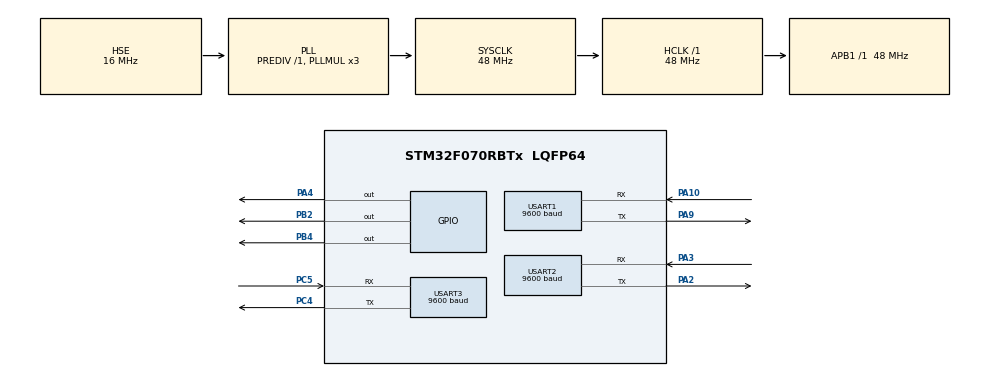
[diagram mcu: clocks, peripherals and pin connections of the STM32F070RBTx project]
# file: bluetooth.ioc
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Mcu.Family=STM32F0
Mcu.Name=STM32F070RBTx
Mcu.Package=LQFP64
NVIC.USART1_IRQn=true\:0\:0\:false\:false\:true
NVIC.USART2_IRQn=true\:0\:0\:false\:false\:true
NVIC.USART3_4_IRQn=true\:0\:0\:false\:false\:true
PA10.Mode=Asynchronous
PA10.Signal=USART1_RX
PA2.Mode=Asynchronous
PA2.Signal=USART2_TX
PA3.Mode=Asynchronous
PA3.Signal=USART2_RX
PA4.Signal=GPIO_Output
PA9.Mode=Asynchronous
PA9.Signal=USART1_TX
PB2.Signal=GPIO_Output
PB4.Signal=GPIO_Output
PC4.Mode=Asynchronous
PC4.Signal=USART3_TX
PC5.Mode=Asynchronous
PC5.Signal=USART3_RX
PF0-OSC_IN.Mode=HSE-External-Oscillator
PF0-OSC_IN.Signal=RCC_OSC_IN
PF1-OSC_OUT.Mode=HSE-External-Oscillator
PF1-OSC_OUT.Signal=RCC_OSC_OUT
ProjectManager.HeapSize=0x200
ProjectManager.StackSize=0x400
ProjectManager.TargetToolchain=MDK-ARM V5
RCC.AHBFreq_Value=48000000
RCC.APB1Freq_Value=48000000
RCC.APB1TimFreq_Value=48000000
RCC.HCLKFreq_Value=48000000
RCC.HSE_VALUE=16000000
RCC.PLLMUL=RCC_PLL_MUL3
RCC.PLLSourceVirtual=RCC_PLLSOURCE_HSE
RCC.SYSCLKFreq_VALUE=48000000
RCC.SYSCLKSource=RCC_SYSCLKSOURCE_PLLCLK
USART1.BaudRate=9600
USART1.VirtualMode-Asynchronous=VM_ASYNC
USART1.WordLength=WORDLENGTH_8B
USART2.BaudRate=9600
USART2.VirtualMode-Asynchronous=VM_ASYNC
USART2.WordLength=WORDLENGTH_8B
USART3.BaudRate=9600
USART3.VirtualMode-Asynchronous=VM_ASYNC
USART3.WordLength=WORDLENGTH_8B
board=bluetooth

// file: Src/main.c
/**
  ******************************************************************************
  * File Name          : main.c
  * Description        : Main program body
  ******************************************************************************
  ** This notice applies to any and all portions of this file
  * that are not between comment pairs USER CODE BEGIN and
  * USER CODE END. Other portions of this file, whether
  * inserted by the user or by software development tools
  * are owned by their respective copyright owners.
  *
  * COPYRIGHT(c) 2017 STMicroelectronics
  *
  * Redistribution and use in source and binary forms, with or without modification,
  * are permitted provided that the following conditions are met:
  *   1. Redistributions of source code must retain the above copyright notice,
  *      this list of conditions and the following disclaimer.
  *   2. Redistributions in binary form must reproduce the above copyright notice,
  *      this list of conditions and the following disclaimer in the documentation
  *      and/or other materials provided with the distribution.
  *   3. Neither the name of STMicroelectronics nor the names of its contributors
  *      may be used to endorse or promote products derived from this software
  *      without specific prior written permission.
  *
  * THIS SOFTWARE IS PROVIDED BY THE COPYRIGHT HOLDERS AND CONTRIBUTORS "AS IS"
  * AND ANY EXPRESS OR IMPLIED WARRANTIES, INCLUDING, BUT NOT LIMITED TO, THE
  * IMPLIED WARRANTIES OF MERCHANTABILITY AND FITNESS FOR A PARTICULAR PURPOSE ARE
  * DISCLAIMED. IN NO EVENT SHALL THE COPYRIGHT HOLDER OR CONTRIBUTORS BE LIABLE
  * FOR ANY DIRECT, INDIRECT, INCIDENTAL, SPECIAL, EXEMPLARY, OR CONSEQUENTIAL
  * DAMAGES (INCLUDING, BUT NOT LIMITED TO, PROCUREMENT OF SUBSTITUTE GOODS OR
  * SERVICES; LOSS OF USE, DATA, OR PROFITS; OR BUSINESS INTERRUPTION) HOWEVER
  * CAUSED AND ON ANY THEORY OF LIABILITY, WHETHER IN CONTRACT, STRICT LIABILITY,
  * OR TORT (INCLUDING NEGLIGENCE OR OTHERWISE) ARISING IN ANY WAY OUT OF THE USE
  * OF THIS SOFTWARE, EVEN IF ADVISED OF THE POSSIBILITY OF SUCH DAMAGE.
  *
  ******************************************************************************
  */
#include "main.h"
#include "stm32f0xx_hal.h"

UART_HandleTypeDef huart1;
UART_HandleTypeDef huart2;
UART_HandleTypeDef huart3;

/* USER CODE BEGIN PV */
/* Private variables ---------------------------------------------------------*/
unsigned char ch,buffer[100];
int i=0,flag=0;
/* USER CODE END PV */

void SystemClock_Config(void);
static void MX_GPIO_Init(void);
static void MX_USART1_UART_Init(void);
static void MX_USART3_UART_Init(void);
static void MX_USART2_UART_Init(void);

/* USER CODE BEGIN PFP */
/* Private function prototypes -----------------------------------------------*/

/* USER CODE END PFP */

/* USER CODE BEGIN 0 */
void HAL_UART_RxCpltCallback(UART_HandleTypeDef *huart)
{
  /* Prevent unused argument(s) compilation warning */
  UNUSED(huart);
if(huart->Instance==USART3)
{
HAL_UART_Receive_IT(&huart3,&ch,1);
//HAL_UART_Transmit(&huart1,&ch,1,10);

}
  /* NOTE : This function should not be modified, when the callback is needed,
            the HAL_UART_RxCpltCallback can be implemented in the user file.
   */
}
/* USER CODE END 0 */

int main(void)
{

  /* MCU Configuration----------------------------------------------------------*/

  /* Reset of all peripherals, Initializes the Flash interface and the Systick. */
  HAL_Init();

  /* Configure the system clock */
  SystemClock_Config();

  /* Initialize all configured peripherals */
  MX_GPIO_Init();
  MX_USART1_UART_Init();
  MX_USART3_UART_Init();
  MX_USART2_UART_Init();

  /* Infinite loop */
  while (1)
  {

  /* USER CODE BEGIN 3 */
HAL_UART_Receive_IT(&huart3,&ch,1);

if(ch == 49)
{
HAL_GPIO_WritePin(GPIOB,GPIO_PIN_4,1);
HAL_UART_Transmit(&huart1,"LED1 ON",7,10);
HAL_UART_Transmit(&huart1,"\r\n",1,10);
}
if(ch == 50)
{
HAL_GPIO_WritePin(GPIOB,GPIO_PIN_4,0);
HAL_UART_Transmit(&huart1,"LED1 OFF",8,10);
HAL_UART_Transmit(&huart1,"\r\n",1,10);
}

if(ch == 51)
{
HAL_GPIO_WritePin(GPIOB,GPIO_PIN_2,1);
HAL_UART_Transmit(&huart1,"BUZZER ON",9,10);
HAL_UART_Transmit(&huart1,"\r\n",1,10);
}
if(ch == 52)
{
HAL_GPIO_WritePin(GPIOB,GPIO_PIN_2,0);
HAL_UART_Transmit(&huart1,"BUZZER OFF",10,10);
HAL_UART_Transmit(&huart1,"\r\n",1,10);
}

if(ch == 53)
{
HAL_GPIO_WritePin(GPIOA,GPIO_PIN_4,1);
HAL_UART_Transmit(&huart1,"LED2 ON",7,10);
HAL_UART_Transmit(&huart1,"\r\n",1,10);
}
if(ch == 48)
{
HAL_GPIO_WritePin(GPIOA,GPIO_PIN_4,0);
HAL_UART_Transmit(&huart1,"LED2 OFF",8,10);
HAL_UART_Transmit(&huart1,"\r\n",1,10);
}

if(ch == 84 || ch == 116)
{
HAL_UART_Transmit(&huart3,"Bluetooth yo",12,10);
HAL_UART_Transmit(&huart3,"\r\n",1,10);
}

if(ch == 61 || ch == 41)
{
if(ch == 84 || ch == 116)
{
if(ch == 84 || ch == 116)
{
HAL_UART_AbortTransmit(&huart3);
}
}
flag=0;
}
  }
  /* USER CODE END 3 */

}

/** System Clock Configuration
*/
void SystemClock_Config(void)
{

  RCC_OscInitTypeDef RCC_OscInitStruct;
  RCC_ClkInitTypeDef RCC_ClkInitStruct;
  RCC_PeriphCLKInitTypeDef PeriphClkInit;

    /**Initializes the CPU, AHB and APB busses clocks
    */
  RCC_OscInitStruct.OscillatorType = RCC_OSCILLATORTYPE_HSE;
  RCC_OscInitStruct.HSEState = RCC_HSE_ON;
  RCC_OscInitStruct.HSIState = RCC_HSI_ON;
  RCC_OscInitStruct.PLL.PLLState = RCC_PLL_ON;
  RCC_OscInitStruct.PLL.PLLSource = RCC_PLLSOURCE_HSE;
  RCC_OscInitStruct.PLL.PLLMUL = RCC_PLL_MUL3;
  RCC_OscInitStruct.PLL.PREDIV = RCC_PREDIV_DIV1;
  if (HAL_RCC_OscConfig(&RCC_OscInitStruct) != HAL_OK)
  {
    _Error_Handler(__FILE__, __LINE__);
  }

    /**Initializes the CPU, AHB and APB busses clocks
    */
  RCC_ClkInitStruct.ClockType = RCC_CLOCKTYPE_HCLK|RCC_CLOCKTYPE_SYSCLK
                              |RCC_CLOCKTYPE_PCLK1;
  RCC_ClkInitStruct.SYSCLKSource = RCC_SYSCLKSOURCE_PLLCLK;
  RCC_ClkInitStruct.AHBCLKDivider = RCC_SYSCLK_DIV1;
  RCC_ClkInitStruct.APB1CLKDivider = RCC_HCLK_DIV1;

  if (HAL_RCC_ClockConfig(&RCC_ClkInitStruct, FLASH_LATENCY_1) != HAL_OK)
  {
    _Error_Handler(__FILE__, __LINE__);
  }

  PeriphClkInit.PeriphClockSelection = RCC_PERIPHCLK_USART1;
  PeriphClkInit.Usart1ClockSelection = RCC_USART1CLKSOURCE_PCLK1;
  if (HAL_RCCEx_PeriphCLKConfig(&PeriphClkInit) != HAL_OK)
  {
    _Error_Handler(__FILE__, __LINE__);
  }

    /**Configure the Systick interrupt time
    */
  HAL_SYSTICK_Config(HAL_RCC_GetHCLKFreq()/1000);

    /**Configure the Systick
    */
  HAL_SYSTICK_CLKSourceConfig(SYSTICK_CLKSOURCE_HCLK);

  /* SysTick_IRQn interrupt configuration */
  HAL_NVIC_SetPriority(SysTick_IRQn, 0, 0);
}

/* USART1 init function */
static void MX_USART1_UART_Init(void)
{

  huart1.Instance = USART1;
  huart1.Init.BaudRate = 9600;
  huart1.Init.WordLength = UART_WORDLENGTH_8B;
  huart1.Init.StopBits = UART_STOPBITS_1;
  huart1.Init.Parity = UART_PARITY_NONE;
  huart1.Init.Mode = UART_MODE_TX_RX;
  huart1.Init.HwFlowCtl = UART_HWCONTROL_NONE;
  huart1.Init.OverSampling = UART_OVERSAMPLING_16;
  huart1.Init.OneBitSampling = UART_ONE_BIT_SAMPLE_DISABLE;
  huart1.AdvancedInit.AdvFeatureInit = UART_ADVFEATURE_NO_INIT;
  if (HAL_UART_Init(&huart1) != HAL_OK)
  {
    _Error_Handler(__FILE__, __LINE__);
  }

}

/* USART2 init function */
static void MX_USART2_UART_Init(void)
{

  huart2.Instance = USART2;
  huart2.Init.BaudRate = 9600;
  huart2.Init.WordLength = UART_WORDLENGTH_8B;
  huart2.Init.StopBits = UART_STOPBITS_1;
  huart2.Init.Parity = UART_PARITY_NONE;
  huart2.Init.Mode = UART_MODE_TX_RX;
  huart2.Init.HwFlowCtl = UART_HWCONTROL_NONE;
  huart2.Init.OverSampling = UART_OVERSAMPLING_16;
  huart2.Init.OneBitSampling = UART_ONE_BIT_SAMPLE_DISABLE;
  huart2.AdvancedInit.AdvFeatureInit = UART_ADVFEATURE_NO_INIT;
  if (HAL_UART_Init(&huart2) != HAL_OK)
  {
    _Error_Handler(__FILE__, __LINE__);
  }

}

/* USART3 init function */
static void MX_USART3_UART_Init(void)
{

  huart3.Instance = USART3;
  huart3.Init.BaudRate = 9600;
  huart3.Init.WordLength = UART_WORDLENGTH_8B;
  huart3.Init.StopBits = UART_STOPBITS_1;
  huart3.Init.Parity = UART_PARITY_NONE;
  huart3.Init.Mode = UART_MODE_TX_RX;
  huart3.Init.HwFlowCtl = UART_HWCONTROL_NONE;
  huart3.Init.OverSampling = UART_OVERSAMPLING_16;
  huart3.Init.OneBitSampling = UART_ONE_BIT_SAMPLE_DISABLE;
  huart3.AdvancedInit.AdvFeatureInit = UART_ADVFEATURE_NO_INIT;
  if (HAL_UART_Init(&huart3) != HAL_OK)
  {
    _Error_Handler(__FILE__, __LINE__);
  }

}

/** Configure pins as
        * Analog
        * Input
        * Output
        * EVENT_OUT
        * EXTI
*/
static void MX_GPIO_Init(void)
{

  GPIO_InitTypeDef GPIO_InitStruct;

  /* GPIO Ports Clock Enable */
  __HAL_RCC_GPIOF_CLK_ENABLE();
  __HAL_RCC_GPIOA_CLK_ENABLE();
  __HAL_RCC_GPIOC_CLK_ENABLE();
  __HAL_RCC_GPIOB_CLK_ENABLE();

  /*Configure GPIO pin Output Level */
  HAL_GPIO_WritePin(GPIOA, GPIO_PIN_4, GPIO_PIN_RESET);

  /*Configure GPIO pin Output Level */
  HAL_GPIO_WritePin(GPIOB, GPIO_PIN_2|GPIO_PIN_4, GPIO_PIN_RESET);

  /*Configure GPIO pin : PA4 */
  GPIO_InitStruct.Pin = GPIO_PIN_4;
  GPIO_InitStruct.Mode = GPIO_MODE_OUTPUT_PP;
  GPIO_InitStruct.Pull = GPIO_NOPULL;
  GPIO_InitStruct.Speed = GPIO_SPEED_FREQ_LOW;
  HAL_GPIO_Init(GPIOA, &GPIO_InitStruct);

  /*Configure GPIO pins : PB2 PB4 */
  GPIO_InitStruct.Pin = GPIO_PIN_2|GPIO_PIN_4;
  GPIO_InitStruct.Mode = GPIO_MODE_OUTPUT_PP;
  GPIO_InitStruct.Pull = GPIO_NOPULL;
  GPIO_InitStruct.Speed = GPIO_SPEED_FREQ_LOW;
  HAL_GPIO_Init(GPIOB, &GPIO_InitStruct);

}

void _Error_Handler(char * file, int line)
{
  while(1)
  {
  }
}

/************************ (C) COPYRIGHT STMicroelectronics *****END OF FILE****/
